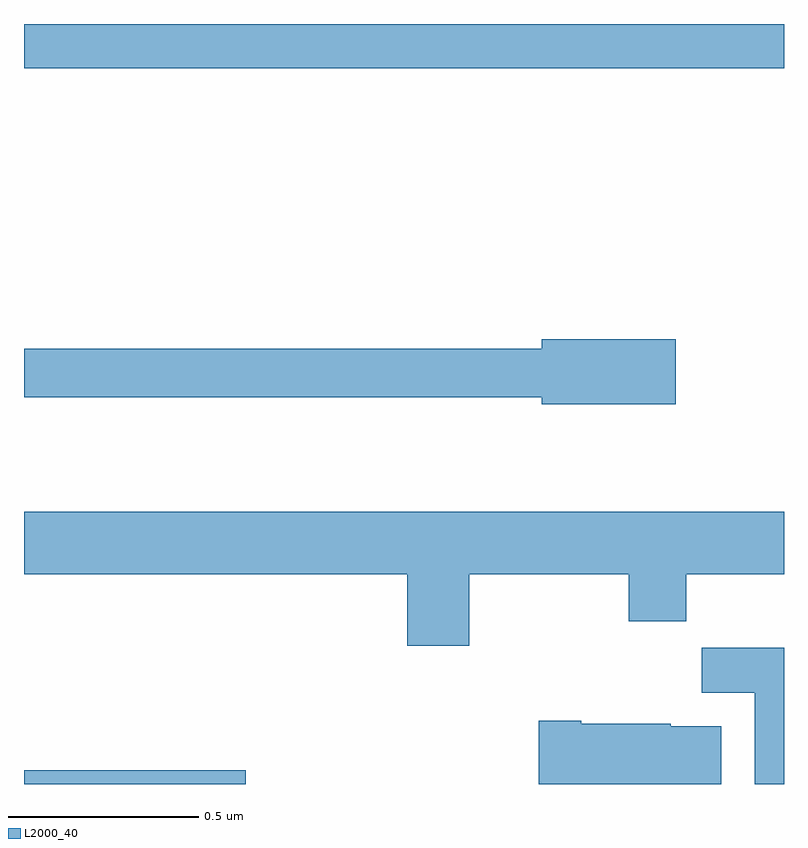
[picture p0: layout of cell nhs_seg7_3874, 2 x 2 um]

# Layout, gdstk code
import gdstk
lib = gdstk.Library(unit=1e-6, precision=1e-09)
def R(c, l, rs):  # rectangles x0, y0, x1, y1
    for r in rs: c.add(gdstk.rectangle(r[:2], r[2:], *l))
def P(c, l, *ps):  # polygons
    for p in ps: c.add(gdstk.Polygon(p, *l))
L2000_40 = (2000, 40)

nhs_seg7_3874 = lib.new_cell('nhs_seg7_3874')
R(nhs_seg7_3874, L2000_40, [(164,1064,164.584,1064.036), (164,1065.884,166,1066)])
P(nhs_seg7_3874, L2000_40, [(165.715,1065.17),(165.362,1065.17),(165.362,1065.146),(164,1065.146),(164,1065.018),(165.362,1065.018),(165.362,1064.999),(165.715,1064.999)],
  [(165.172,1064.552),(165.592,1064.552),(165.592,1064.428),(165.743,1064.428),(165.743,1064.552),(166,1064.552),(166,1064.716),(164,1064.716),(164,1064.552),(165.008,1064.552),(165.008,1064.364),(165.172,1064.364)],
  [(166,1064.359),(165.784,1064.359),(165.784,1064.24),(165.923,1064.24),(165.923,1064),(166,1064)],
  [(165.835,1064.152),(165.702,1064.152),(165.702,1064.158),(165.466,1064.158),(165.466,1064.166),(165.354,1064.166),(165.354,1064),(165.835,1064)])

lib.write_gds('nhs_seg7_3874.gds')
